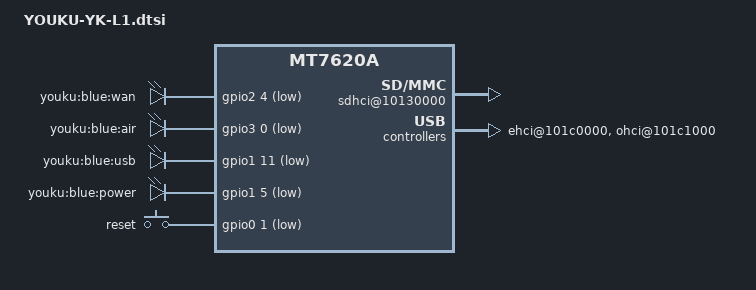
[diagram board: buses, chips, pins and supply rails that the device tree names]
/include/ "mt7620a.dtsi"

/ {
	chosen {
		bootargs = "console=ttyS0,115200";
	};

	ethernet@10100000 {
		pinctrl-names = "default";
		pinctrl-0 = <&ephy_pins>;
		mtd-mac-address = <&factory 0x4>;
		ralink,port-map = "llllw";
	};

	sdhci@10130000 {
		compatible = "ralink,mt7620-sdhci";
		reg = <0x10130000 4000>;
		interrupt-parent = <&intc>;
		interrupts = <14>;
		status = "okay";
	};
	
	wmac@10180000 {
		ralink,mtd-eeprom = <&factory 0>;
	};

	ehci@101c0000 {
		status = "okay";
	};

	ohci@101c1000 {
		status = "okay";
	};

	pinctrl {
		state_default: pinctrl0 {
			gpio {
				ralink,group = "i2c", "uartf", "rgmii1", "rgmii2", "wled", "nd_sd";
				ralink,function = "gpio";
			};

			pa {
				ralink,group = "pa";
				ralink,function = "pa";
			};
		};
	};

	gpio-leds {
		compatible = "gpio-leds";
		wan {
			label = "youku:blue:wan";
			gpios = <&gpio2 4 1>;
		};
		air {
			label = "youku:blue:air";
			gpios = <&gpio3 0 1>;
		};
		usb {
			label = "youku:blue:usb";
			gpios = <&gpio1 11 1>;
		};
		power {
			label = "youku:blue:power";
			gpios = <&gpio1 5 1>;
		};
	};

	gpio-keys-polled {
		compatible = "gpio-keys-polled";
		#address-cells = <1>;
		#size-cells = <0>;
		poll-interval = <20>;
		reset {
			label = "reset";
			gpios = <&gpio0 1 1>;
			linux,code = <0x198>;
		};
	};
};
